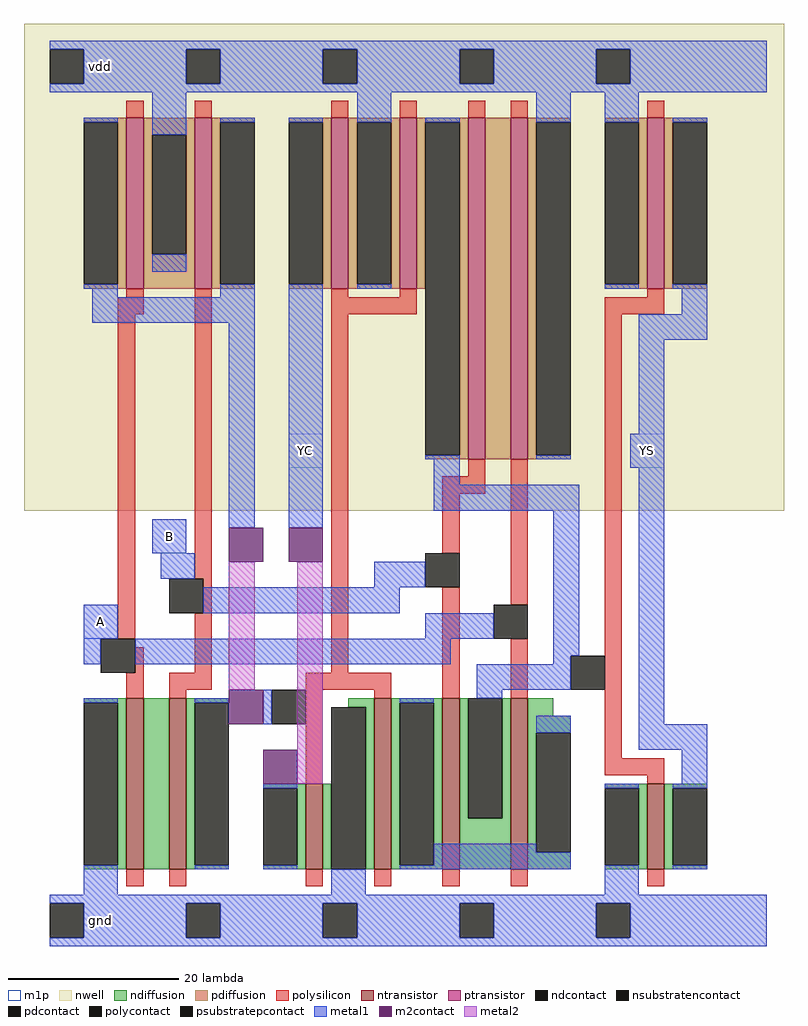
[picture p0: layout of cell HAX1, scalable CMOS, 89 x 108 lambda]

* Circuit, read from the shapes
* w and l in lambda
.subckt HAX1 A B YC YS vdd gnd
M1 n1 A gnd gnd nfet w=20 l=2
M2 n2 B n1 gnd nfet w=20 l=2
M3 gnd n2 YC gnd nfet w=10 l=2
M4 n3 n2 gnd gnd nfet w=20 l=2
M5 n4 B n3 gnd nfet w=20 l=2
M6 n3 A n4 gnd nfet w=20 l=2
M7 YS n4 gnd gnd nfet w=10 l=2
M8 vdd A n2 vdd pfet w=20 l=2
M9 n2 B vdd vdd pfet w=20 l=2
M10 vdd n2 YC vdd pfet w=20 l=2
M11 n4 n2 vdd vdd pfet w=20 l=2
M12 n5 B n4 vdd pfet w=40 l=2
M13 vdd A n5 vdd pfet w=40 l=2
M14 YS n4 vdd vdd pfet w=20 l=2
.ends

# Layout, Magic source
magic
tech scmos
magscale 1 2
<< nwell >>
rect -10 96 168 210
<< ntransistor >>
rect 14 12 18 52
rect 24 12 28 52
rect 56 12 60 32
rect 72 12 76 52
rect 88 12 92 52
rect 104 12 108 52
rect 136 12 140 32
<< ptransistor >>
rect 14 148 18 188
rect 30 148 34 188
rect 62 148 66 188
rect 78 148 82 188
rect 94 108 98 188
rect 104 108 108 188
rect 136 148 140 188
<< ndiffusion >>
rect 4 51 14 52
rect 12 13 14 51
rect 4 12 14 13
rect 18 12 24 52
rect 28 51 38 52
rect 28 13 30 51
rect 66 50 72 52
rect 28 12 38 13
rect 46 31 56 32
rect 54 13 56 31
rect 46 12 56 13
rect 60 12 62 32
rect 70 12 72 50
rect 76 51 88 52
rect 76 13 78 51
rect 86 13 88 51
rect 76 12 88 13
rect 92 24 94 52
rect 102 24 104 52
rect 92 12 104 24
rect 108 48 114 52
rect 108 44 118 48
rect 108 16 110 44
rect 108 12 118 16
rect 126 31 136 32
rect 134 13 136 31
rect 126 12 136 13
rect 140 31 150 32
rect 140 13 142 31
rect 140 12 150 13
<< pdiffusion >>
rect 4 187 14 188
rect 12 149 14 187
rect 4 148 14 149
rect 18 184 30 188
rect 18 156 20 184
rect 28 156 30 184
rect 18 148 30 156
rect 34 187 44 188
rect 34 149 36 187
rect 34 148 44 149
rect 52 187 62 188
rect 60 149 62 187
rect 52 148 62 149
rect 66 187 78 188
rect 66 149 68 187
rect 76 149 78 187
rect 66 148 78 149
rect 82 187 94 188
rect 82 148 84 187
rect 92 109 94 187
rect 84 108 94 109
rect 98 108 104 188
rect 108 187 118 188
rect 108 109 110 187
rect 126 187 136 188
rect 134 149 136 187
rect 126 148 136 149
rect 140 187 150 188
rect 140 149 142 187
rect 140 148 150 149
rect 108 108 118 109
<< ndcontact >>
rect 4 13 12 51
rect 30 13 38 51
rect 46 13 54 31
rect 62 12 70 50
rect 78 13 86 51
rect 94 24 102 52
rect 110 16 118 44
rect 126 13 134 31
rect 142 13 150 31
<< pdcontact >>
rect 4 149 12 187
rect 20 156 28 184
rect 36 149 44 187
rect 52 149 60 187
rect 68 149 76 187
rect 84 109 92 187
rect 110 109 118 187
rect 126 149 134 187
rect 142 149 150 187
<< psubstratepcontact >>
rect -4 -4 4 4
rect 28 -4 36 4
rect 60 -4 68 4
rect 92 -4 100 4
rect 124 -4 132 4
<< nsubstratencontact >>
rect -4 196 4 204
rect 28 196 36 204
rect 60 196 68 204
rect 92 196 100 204
rect 124 196 132 204
<< polysilicon >>
rect 14 188 18 192
rect 30 188 34 192
rect 62 188 66 192
rect 78 188 82 192
rect 94 188 98 192
rect 104 188 108 192
rect 136 188 140 192
rect 14 146 18 148
rect 12 142 18 146
rect 12 66 16 142
rect 30 80 34 148
rect 32 72 34 80
rect 16 58 18 64
rect 30 58 34 72
rect 62 146 66 148
rect 78 146 82 148
rect 62 142 82 146
rect 62 58 66 142
rect 136 146 140 148
rect 126 142 140 146
rect 94 104 98 108
rect 88 100 98 104
rect 88 86 92 100
rect 14 52 18 58
rect 24 54 34 58
rect 56 54 76 58
rect 24 52 28 54
rect 56 32 60 54
rect 72 52 76 54
rect 88 52 92 78
rect 104 74 108 108
rect 104 52 108 66
rect 126 38 130 142
rect 126 34 140 38
rect 136 32 140 34
rect 14 8 18 12
rect 24 8 28 12
rect 56 8 60 12
rect 72 8 76 12
rect 88 8 92 12
rect 104 8 108 12
rect 136 8 140 12
<< polycontact >>
rect 24 72 32 80
rect 8 58 16 66
rect 84 78 92 86
rect 48 46 56 54
rect 100 66 108 74
rect 118 54 126 62
<< metal1 >>
rect -4 204 164 206
rect 4 196 28 204
rect 36 196 60 204
rect 68 196 92 204
rect 100 196 124 204
rect 132 196 164 204
rect -4 194 164 196
rect 4 187 12 188
rect 20 184 28 194
rect 20 152 28 156
rect 36 187 44 188
rect 4 148 12 149
rect 6 146 12 148
rect 36 146 44 149
rect 6 140 44 146
rect 20 86 28 94
rect 38 92 44 140
rect 52 187 60 188
rect 52 92 60 149
rect 68 187 76 194
rect 68 148 76 149
rect 84 187 92 188
rect 84 108 92 109
rect 110 187 118 194
rect 126 187 134 194
rect 126 148 134 149
rect 142 187 150 188
rect 142 148 150 149
rect 144 142 150 148
rect 134 136 150 142
rect 134 114 140 136
rect 110 108 118 109
rect 86 102 92 108
rect 132 106 140 114
rect 86 96 120 102
rect 22 80 30 86
rect 4 66 12 74
rect 72 78 84 84
rect 32 72 78 78
rect 84 66 100 72
rect 4 60 8 66
rect 16 60 90 66
rect 114 62 120 96
rect 114 60 118 62
rect 96 54 118 60
rect 4 51 12 52
rect 4 6 12 13
rect 30 51 38 52
rect 46 46 48 54
rect 96 52 102 54
rect 78 51 86 52
rect 30 12 38 13
rect 46 31 54 32
rect 46 12 54 13
rect 110 44 118 48
rect 86 16 110 18
rect 134 46 140 106
rect 134 40 150 46
rect 144 32 150 40
rect 86 13 118 16
rect 78 12 118 13
rect 126 31 134 32
rect 62 6 70 12
rect 126 6 134 13
rect 142 31 150 32
rect 142 12 150 13
rect -4 4 164 6
rect 4 -4 28 4
rect 36 -4 60 4
rect 68 -4 92 4
rect 100 -4 124 4
rect 132 -4 164 4
rect -4 -6 164 -4
<< m2contact >>
rect 38 84 46 92
rect 52 84 60 92
rect 38 46 46 54
rect 46 32 54 40
<< metal2 >>
rect 38 54 44 84
rect 54 32 60 84
<< m1p >>
rect 52 106 60 114
rect 132 106 140 114
rect 20 86 28 94
rect 4 66 12 74
<< labels >>
rlabel metal1 8 200 8 200 4 vdd
port 5 se
rlabel metal1 8 0 8 0 4 gnd
port 6 se
rlabel metal1 56 110 56 110 4 YC
port 3 se
rlabel metal1 8 70 8 70 4 A
port 1 se
rlabel metal1 24 90 24 90 4 B
port 2 se
rlabel metal1 136 110 136 110 4 YS
port 4 se
<< end >>
